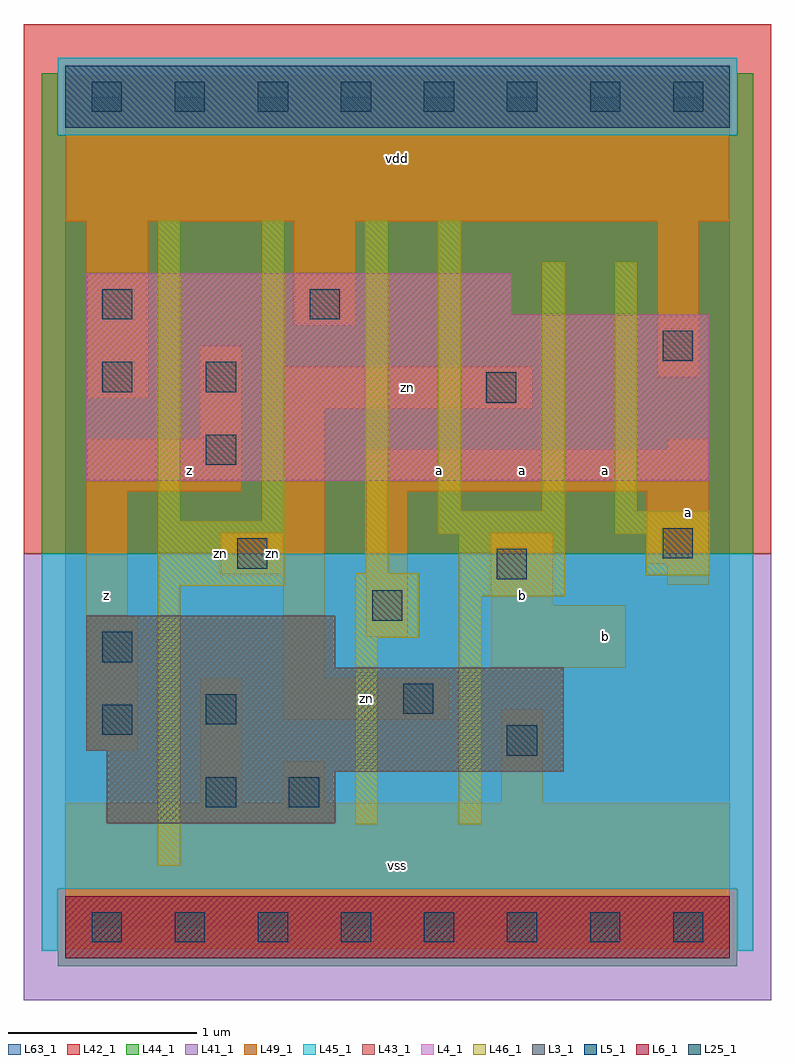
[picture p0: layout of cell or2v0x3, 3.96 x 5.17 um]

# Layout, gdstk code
import gdstk
lib = gdstk.Library(unit=1e-6, precision=1e-09)
def R(c, l, rs):  # rectangles x0, y0, x1, y1
    for r in rs: c.add(gdstk.rectangle(r[:2], r[2:], *l))
def A(c, l, x, y, w, h, nx, ny, dx, dy):  # array of equal rectangles
    R(c, l, [(x+i*dx, y+j*dy, x+i*dx+w, y+j*dy+h) for i in range(nx) for j in range(ny)])
L3_1 = (3, 1)
L4_1 = (4, 1)
L5_1 = (5, 1)
L6_1 = (6, 1)
L25_1 = (25, 1)
L41_1 = (41, 1)
L42_1 = (42, 1)
L43_1 = (43, 1)
L44_1 = (44, 1)
L45_1 = (45, 1)
L46_1 = (46, 1)
L49_1 = (49, 1)
L63_1 = (63, 1)

or2v0x3 = lib.new_cell('or2v0x3')
R(or2v0x3, L3_1, [(0.22,0.55,1.43,0.825), (0.22,0.825,2.64,0.935), (0.11,0.935,2.64,1.375), (0.11,1.375,1.43,1.65)])
R(or2v0x3, L4_1, [(0.11,2.365,3.41,3.245), (0.11,3.245,2.365,3.465)])
R(or2v0x3, L5_1, [(0,4.235,3.52,4.565)])
R(or2v0x3, L6_1, [(0,-0.165,3.52,0.165)])
A(or2v0x3, L25_1, 0.14, -0.08, 0.16, 0.16, 8, 2, 0.44, 4.4)
R(or2v0x3, L25_1, [(0.745,0.635,0.905,0.795), (1.185,0.635,1.345,0.795), (2.34,0.91,2.5,1.07), (0.195,1.02,0.355,1.18), (0.745,1.075,0.905,1.235), (1.79,1.13,1.95,1.29), (0.195,1.405,0.355,1.565), (1.625,1.625,1.785,1.785), (2.285,1.845,2.445,2.005), (0.91,1.9,1.07,2.06), (3.165,1.955,3.325,2.115), (0.745,2.45,0.905,2.61), (2.23,2.78,2.39,2.94), (0.195,2.835,0.355,2.995), (0.745,2.835,0.905,2.995), (3.165,3,3.325,3.16), (0.195,3.22,0.355,3.38), (1.295,3.22,1.455,3.38)])
R(or2v0x3, L41_1, [(-0.22,-0.385,3.74,1.98)])
R(or2v0x3, L42_1, [(-0.22,1.98,3.74,4.785)])
R(or2v0x3, L43_1, [(0,-0.165,3.52,0.165), (0.22,0.55,1.43,0.825), (0.22,0.825,2.64,0.935), (0.11,0.935,2.64,1.375), (0.11,1.375,1.43,1.65), (0.11,2.365,3.41,3.245), (0.11,3.245,2.365,3.465), (0,4.235,3.52,4.565)])
R(or2v0x3, L44_1, [(-0.04,-0.205,3.56,0.205), (-0.125,1.98,3.645,4.195), (-0.125,4.195,-0.04,4.525), (3.56,4.195,3.645,4.525)])
R(or2v0x3, L45_1, [(-0.125,-0.125,-0.04,0.205), (3.56,-0.125,3.645,0.205), (-0.125,0.205,3.645,1.98), (-0.04,4.195,3.56,4.605)])
R(or2v0x3, L46_1, [(0.49,0.325,0.61,1.81), (1.535,0.545,1.655,1.535), (2.085,0.545,2.205,1.755), (1.535,1.535,1.875,1.875), (2.085,1.755,2.645,2.085), (0.49,1.81,1.16,2.15), (3.075,1.865,3.415,2.085), (1.59,1.875,1.71,3.745), (1.975,2.085,2.645,2.205), (2.91,2.085,3.415,2.205), (0.49,2.15,0.61,3.745), (1.04,2.15,1.16,3.745), (1.975,2.205,2.095,3.745), (2.525,2.205,2.645,3.525), (2.91,2.205,3.03,3.525)])
R(or2v0x3, L49_1, [(0,-0.11,3.52,0.66), (0.715,0.66,0.935,1.32), (1.155,0.66,1.375,0.88), (2.31,0.66,2.53,1.155), (0.11,0.935,0.385,1.65), (1.155,1.1,2.035,1.32), (1.155,1.32,1.375,1.87), (2.255,1.375,2.97,1.705), (1.595,1.54,1.815,2.31), (0.11,1.65,0.33,2.31), (2.255,1.705,2.585,2.09), (3.19,1.815,3.41,1.925), (0.825,1.87,1.375,2.09), (3.08,1.925,3.41,2.31), (1.155,2.09,1.375,2.75), (0.11,2.31,0.935,2.585), (1.595,2.31,3.41,2.53), (3.19,2.53,3.41,2.585), (0.715,2.585,0.935,3.08), (1.155,2.75,2.475,2.97), (0.11,2.805,0.44,3.74), (3.135,2.915,3.355,3.74), (1.21,3.19,1.54,3.74), (0,3.74,3.52,4.51)])
R(or2v0x3, L63_1, [(0,0,3.52,4.4)])
or2v0x3.add(gdstk.Label('zn', (0.825,1.98), layer=46, texttype=1))
or2v0x3.add(gdstk.Label('z', (0.22,1.76), layer=49, texttype=1))
or2v0x3.add(gdstk.Label('z', (0.66,2.42), layer=49, texttype=1))
or2v0x3.add(gdstk.Label('vss', (1.76,0.33), layer=49, texttype=1))
or2v0x3.add(gdstk.Label('zn', (1.595,1.21), layer=49, texttype=1))
or2v0x3.add(gdstk.Label('zn', (1.1,1.98), layer=49, texttype=1))
or2v0x3.add(gdstk.Label('a', (1.98,2.42), layer=49, texttype=1))
or2v0x3.add(gdstk.Label('vdd', (1.76,4.07), layer=49, texttype=1))
or2v0x3.add(gdstk.Label('b', (2.42,1.76), layer=49, texttype=1))
or2v0x3.add(gdstk.Label('a', (2.42,2.42), layer=49, texttype=1))
or2v0x3.add(gdstk.Label('zn', (1.815,2.86), layer=49, texttype=1))
or2v0x3.add(gdstk.Label('b', (2.86,1.54), layer=49, texttype=1))
or2v0x3.add(gdstk.Label('a', (2.86,2.42), layer=49, texttype=1))
or2v0x3.add(gdstk.Label('a', (3.3,2.2), layer=49, texttype=1))

lib.write_gds('or2v0x3.gds')
